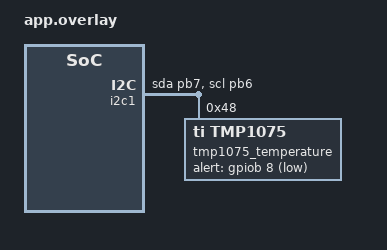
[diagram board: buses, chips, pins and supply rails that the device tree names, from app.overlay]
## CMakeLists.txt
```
# SPDX-License-Identifier: Apache-2.0

cmake_minimum_required(VERSION 3.20.0)
find_package(Zephyr REQUIRED HINTS $ENV{ZEPHYR_BASE})
project(tmp1075)

FILE(GLOB app_sources src/*.c)
target_sources(app PRIVATE ${app_sources})
```

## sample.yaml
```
sample:
  name: TMP 1075 Temperature Sensor Sample
tests:
  sample.sensor.tmp1075:
    harness: console
    tags: sensors
    depends_on:
      - i2c
      - gpio
    filter: dt_compat_enabled("ti,tmp1075")
    harness_config:
      type: multi_line
      regex:
        - "Temperature: *.*C"
    platform_allow:
      - nucleo_h7a3zi_q
```

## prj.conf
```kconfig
CONFIG_SENSOR=y
CONFIG_STDOUT_CONSOLE=y
CONFIG_CBPRINTF_FP_SUPPORT=y
CONFIG_I2C=y
CONFIG_GPIO=y

CONFIG_LOG=y
CONFIG_TMP1075=y
CONFIG_TMP1075_ALERT_INTERRUPTS=y
```

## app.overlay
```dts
&i2c1 {
	pinctrl-0 = <&i2c1_sda_pb7 &i2c1_scl_pb6>;
	pinctrl-names = "default";
	compatible = "st,stm32-i2c-v2";
	status = "okay";

	tmp1075_temperature: tmp1075@48 {
		compatible = "ti,tmp1075";
		friendly-name = "texas_temperature_tmp1075";
		reg = <0x48>;
		alert-gpios = <&gpiob 8 (GPIO_PULL_UP | GPIO_ACTIVE_LOW)>;
	};
};
```

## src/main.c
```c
/*
 * Copyright (c) 2024 Arrow Electronics.
 *
 * SPDX-License-Identifier: Apache-2.0
 */

#include <zephyr/device.h>
#include <zephyr/devicetree.h>
#include <zephyr/drivers/gpio.h>
#include <zephyr/drivers/sensor.h>
#include <zephyr/kernel.h>
#include <zephyr/logging/log.h>

LOG_MODULE_REGISTER(tmp1075_sample, LOG_LEVEL_DBG);
#define DT_TMP1075 DT_NODELABEL(tmp1075_temperature)

static void trigger_handler(const struct device *dev, const struct sensor_trigger *trig)
{
	LOG_WRN("Detected tmp1075 interrupt");
}

int tmp1075_setup(void)
{
	const struct device *const sensor = DEVICE_DT_GET(DT_TMP1075);

	if (!device_is_ready(sensor)) {
		LOG_ERR("Device %s is not ready!", sensor->name);
	}
	static const struct sensor_trigger trig = {.chan = SENSOR_CHAN_AMBIENT_TEMP,
						   .type = SENSOR_TRIG_THRESHOLD};
	static const struct sensor_value lower = {.val1 = DT_PROP(DT_TMP1075, lower_threshold)};
	static const struct sensor_value higher = {.val1 = DT_PROP(DT_TMP1075, upper_threshold)};

	int status = sensor_trigger_set(sensor, &trig, trigger_handler);

	if (status != 0) {
		LOG_ERR("Couldn't set the trigger to: %s!", sensor->name);
		return status;
	}
	LOG_INF("setting thresholds ---- lower: %d higher: %d", lower.val1, higher.val1);
	status =
		sensor_attr_set(sensor, SENSOR_CHAN_AMBIENT_TEMP, SENSOR_ATTR_LOWER_THRESH, &lower);
	status = sensor_attr_set(sensor, SENSOR_CHAN_AMBIENT_TEMP, SENSOR_ATTR_UPPER_THRESH,
				 &higher);
	return status;
}

int main(void)
{
	const struct device *temp_sensor = DEVICE_DT_GET(DT_TMP1075);
	struct sensor_value temp;

	printf("TI TMP1075 Example, %s\n", CONFIG_ARCH);

#ifdef CONFIG_TMP1075_ALERT_INTERRUPTS
	if (0 != tmp1075_setup()) {
		LOG_ERR("Error: Alert GPIO device is not ready\n");
		return 1;
	}
#endif

	while (1) {
		if (sensor_sample_fetch(temp_sensor) < 0) {
			LOG_ERR("Sensor sample update error\n");
			return 1;
		}

		if (sensor_channel_get(temp_sensor, SENSOR_CHAN_AMBIENT_TEMP, &temp) < 0) {
			LOG_ERR("Cannot read temperature channel\n");
			return 1;
		}

		LOG_INF("Temperature: %d.%04d°C", temp.val1, temp.val2);
		k_sleep(K_SECONDS(1));
	}
}
```
